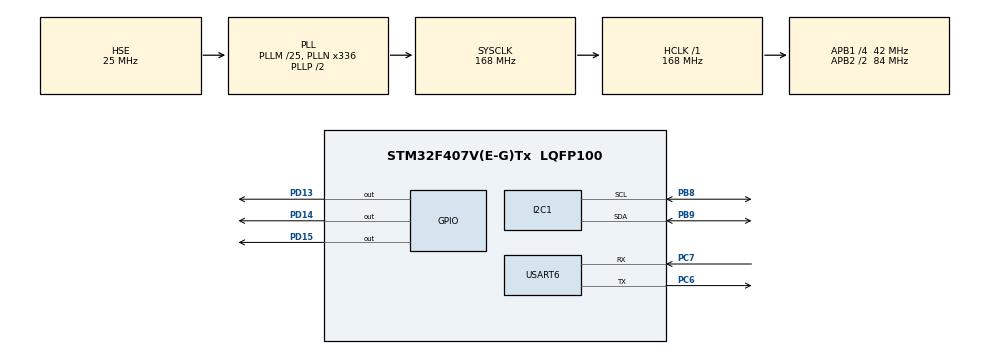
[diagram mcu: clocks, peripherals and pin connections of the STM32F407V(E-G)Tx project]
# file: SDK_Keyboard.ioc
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Mcu.Family=STM32F4
Mcu.Name=STM32F407V(E-G)Tx
Mcu.Package=LQFP100
NVIC.PriorityGroup=NVIC_PRIORITYGROUP_4
PA13.Mode=JTAG_5_pins
PA13.Signal=SYS_JTMS-SWDIO
PA14.Mode=JTAG_5_pins
PA14.Signal=SYS_JTCK-SWCLK
PA15.Mode=JTAG_5_pins
PA15.Signal=SYS_JTDI
PB3.Mode=JTAG_5_pins
PB3.Signal=SYS_JTDO-SWO
PB4.Mode=JTAG_5_pins
PB4.Signal=SYS_JTRST
PB8.GPIO_Pu=GPIO_PULLUP
PB8.Mode=I2C
PB8.Signal=I2C1_SCL
PB9.GPIO_Pu=GPIO_PULLUP
PB9.Mode=I2C
PB9.Signal=I2C1_SDA
PC6.Mode=Asynchronous
PC6.Signal=USART6_TX
PC7.Mode=Asynchronous
PC7.Signal=USART6_RX
PD13.Signal=GPIO_Output
PD14.Signal=GPIO_Output
PD15.Signal=GPIO_Output
PH0-OSC_IN.Mode=HSE-External-Oscillator
PH0-OSC_IN.Signal=RCC_OSC_IN
PH1-OSC_OUT.Mode=HSE-External-Oscillator
PH1-OSC_OUT.Signal=RCC_OSC_OUT
ProjectManager.HeapSize=0x200
ProjectManager.StackSize=0x400
ProjectManager.TargetToolchain=STM32CubeIDE
RCC.48MHZClocksFreq_Value=84000000
RCC.AHBFreq_Value=168000000
RCC.APB1CLKDivider=RCC_HCLK_DIV4
RCC.APB1Freq_Value=42000000
RCC.APB1TimFreq_Value=84000000
RCC.APB2CLKDivider=RCC_HCLK_DIV2
RCC.APB2Freq_Value=84000000
RCC.APB2TimFreq_Value=168000000
RCC.CortexFreq_Value=168000000
RCC.HCLKFreq_Value=168000000
RCC.HSE_VALUE=25000000
RCC.HSI_VALUE=16000000
RCC.LSE_VALUE=32768
RCC.PLLM=25
RCC.PLLN=336
RCC.PLLSourceVirtual=RCC_PLLSOURCE_HSE
RCC.SYSCLKFreq_VALUE=168000000
RCC.SYSCLKSource=RCC_SYSCLKSOURCE_PLLCLK
RCC.VCOOutputFreq_Value=336000000
USART6.VirtualMode=VM_ASYNC
board=custom

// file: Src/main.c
/* USER CODE BEGIN Header */
/**
  ******************************************************************************
  * @file           : main.c
  * @brief          : Main program body
  ******************************************************************************
  * @attention
  *
  * <h2><center>&copy; Copyright (c) 2019 STMicroelectronics.
  * All rights reserved.</center></h2>
  *
  * This software component is licensed by ST under BSD 3-Clause license,
  * the "License"; You may not use this file except in compliance with the
  * License. You may obtain a copy of the License at:
  *                        opensource.org/licenses/BSD-3-Clause
  *
  ******************************************************************************
  */
/* USER CODE END Header */
#include "main.h"
#include "i2c.h"
#include "usart.h"
#include "gpio.h"

/* USER CODE BEGIN Includes */
#include "kb.h"
#include "sdk_uart.h"
#include "pca9538.h"
#include "oled.h"
#include "fonts.h"
#include "emb2calc.h"
#include "emb2kb.h"
//#include "emb2calc.h"
/* USER CODE END Includes */

void SystemClock_Config(void);
/* USER CODE BEGIN PFP */
void KB_Test( void );
void OLED_KB( uint8_t OLED_Keys[]);
void oled_Reset( void );
/* USER CODE END PFP */

int main(void)
{

  /* MCU Configuration--------------------------------------------------------*/

  /* Reset of all peripherals, Initializes the Flash interface and the Systick. */
  HAL_Init();

  /* Configure the system clock */
  SystemClock_Config();

  /* Initialize all configured peripherals */
  MX_GPIO_Init();
  MX_I2C1_Init();
  MX_USART6_UART_Init();
  /* USER CODE BEGIN 2 */
  oled_Init();
  oled_Fill(White);
  oled_WriteString("Khodzhaev", Font_7x10, Black);
  oled_NextLine(Font_7x10);
  oled_WriteString("Emelin", Font_7x10, Black);
  oled_NextLine(Font_7x10);
  oled_WriteString("Badamkhanov", Font_7x10, Black);
  oled_NextLine(Font_7x10);
  oled_WriteString("Ivanov", Font_7x10, Black);
  oled_UpdateScreen();
  HAL_Delay(5000);

  introSlides();

  /* USER CODE END 2 */

  /* Infinite loop */
  while (1)
  {

    /* USER CODE BEGIN 3 */
	  printCalc();
	  char check = getKey();
	  keyPressed(check);
	  printCalc();
	  HAL_Delay(50);

  }
  /* USER CODE END 3 */
}

void SystemClock_Config(void)
{
  RCC_OscInitTypeDef RCC_OscInitStruct = {0};
  RCC_ClkInitTypeDef RCC_ClkInitStruct = {0};

  /** Configure the main internal regulator output voltage
  */
  __HAL_RCC_PWR_CLK_ENABLE();
  __HAL_PWR_VOLTAGESCALING_CONFIG(PWR_REGULATOR_VOLTAGE_SCALE1);

  /** Initializes the RCC Oscillators according to the specified parameters
  * in the RCC_OscInitTypeDef structure.
  */
  RCC_OscInitStruct.OscillatorType = RCC_OSCILLATORTYPE_HSE;
  RCC_OscInitStruct.HSEState = RCC_HSE_ON;
  RCC_OscInitStruct.PLL.PLLState = RCC_PLL_ON;
  RCC_OscInitStruct.PLL.PLLSource = RCC_PLLSOURCE_HSE;
  RCC_OscInitStruct.PLL.PLLM = 25;
  RCC_OscInitStruct.PLL.PLLN = 336;
  RCC_OscInitStruct.PLL.PLLP = RCC_PLLP_DIV2;
  RCC_OscInitStruct.PLL.PLLQ = 4;
  if (HAL_RCC_OscConfig(&RCC_OscInitStruct) != HAL_OK)
  {
    Error_Handler();
  }

  /** Initializes the CPU, AHB and APB buses clocks
  */
  RCC_ClkInitStruct.ClockType = RCC_CLOCKTYPE_HCLK|RCC_CLOCKTYPE_SYSCLK
                              |RCC_CLOCKTYPE_PCLK1|RCC_CLOCKTYPE_PCLK2;
  RCC_ClkInitStruct.SYSCLKSource = RCC_SYSCLKSOURCE_PLLCLK;
  RCC_ClkInitStruct.AHBCLKDivider = RCC_SYSCLK_DIV1;
  RCC_ClkInitStruct.APB1CLKDivider = RCC_HCLK_DIV4;
  RCC_ClkInitStruct.APB2CLKDivider = RCC_HCLK_DIV2;

  if (HAL_RCC_ClockConfig(&RCC_ClkInitStruct, FLASH_LATENCY_5) != HAL_OK)
  {
    Error_Handler();
  }
}

/* USER CODE BEGIN 4 */
void KB_Test( void ) {
	UART_Transmit( (uint8_t*)"KB test start\n" );
	uint8_t R = 0, C = 0, L = 0, Row[4] = {ROW4, ROW3, ROW2, ROW1}, Key, OldKey, OLED_Keys[12] = {0x30,0x30,0x30,0x30,0x30,0x30,0x30,0x30,0x30,0x30,0x30,0x30};
	oled_Reset();
	oled_WriteString("From bottom to top", Font_7x10, White);
	OLED_KB(OLED_Keys);
	oled_UpdateScreen();
	for ( int i = 0; i < 4; i++ ) {
		while( !( R && C && L ) ) {
			OldKey = Key;
			Key = Check_Row( Row[i] );
			if ( Key == 0x01 && Key != OldKey) {
				UART_Transmit( (uint8_t*)"Right pressed\n" );
				R = 1;
				OLED_Keys[2+3*i] = 0x31;
				OLED_KB(OLED_Keys);
			} else if ( Key == 0x02 && Key != OldKey) {
				UART_Transmit( (uint8_t*)"Center pressed\n" );
				C = 1;
				OLED_Keys[1+3*i] = 0x31;
				OLED_KB(OLED_Keys);
			} else if ( Key == 0x04 && Key != OldKey) {
				UART_Transmit( (uint8_t*)"Left pressed\n" );
				L = 1;
				OLED_Keys[3*i] = 0x31;
				OLED_KB(OLED_Keys);
			}
		}
		UART_Transmit( (uint8_t*)"Row complete\n" );
		R = C = L = 0;
		HAL_Delay(25);
	}
	UART_Transmit( (uint8_t*)"KB test complete\n");
}
void OLED_KB( uint8_t OLED_Keys[12]) {
	for (int i = 3; i >= 0; i--) {
		oled_SetCursor(56, 5+(4-i)*10);
		for (int j = 0; j < 3; j++) {
			oled_WriteChar(OLED_Keys[j+3*i], Font_7x10, White);
		}
	}
	oled_UpdateScreen();
}
void oled_Reset( void ) {
	oled_Fill(Black);
	oled_SetCursor(0, 0);
	oled_UpdateScreen();
}
/* USER CODE END 4 */

void Error_Handler(void)
{
}
